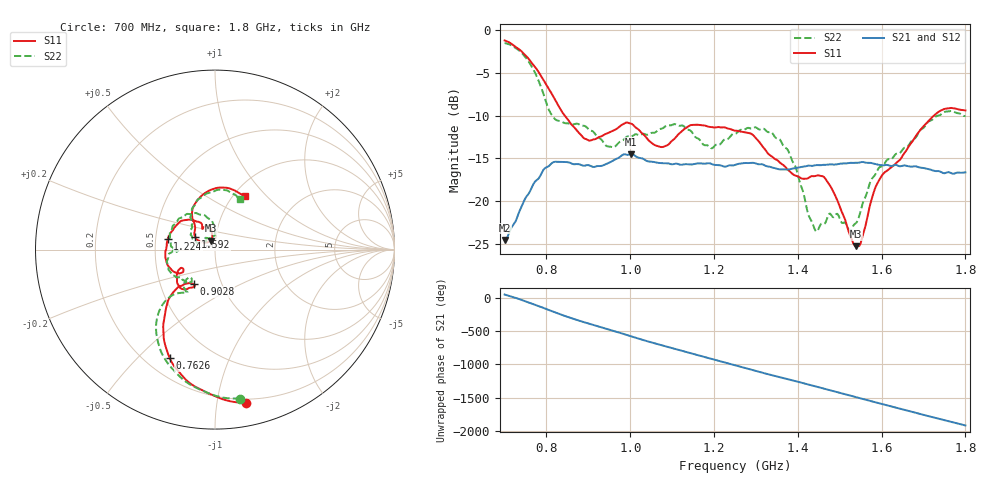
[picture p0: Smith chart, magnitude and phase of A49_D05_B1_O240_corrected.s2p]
! Created with skrf 1.9.0 (http://scikit-rf.org).
# Hz S RI R 50.0
!freq ReS11 ImS11 ReS21 ImS21 ReS12 ImS12 ReS22 ImS22
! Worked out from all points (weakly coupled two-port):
!   1601 points, 700 MHz to 1.8 GHz, reference 50 ohm
!   highest |S21| = -14.50 dB at 1.002 GHz (marker M1); lowest = -24.6 dB at 700.7 MHz (marker M2)
!   lowest |S11| = -25.3 dB at 1.538 GHz (marker M3), VSWR 1.12, Z = 47.5 + j4.7 ohm
!   |S11| at or under -10 dB: 843.6 MHz to 1.725 GHz (881.2 MHz wide, 68.6 % of centre)
!   |S22| runs from -23.6 to -1.5 dB; largest |S21 - S12| = 0.0034
!   S11 on the Smith chart (normalised r, x): 700 MHz: 0.17, -1.21; 762.6 MHz: 0.30, -0.62; 902.8 MHz: 0.74, -0.30; 1.224 GHz: 0.58, +0.08; 1.592 GHz: 0.79, +0.11; 1.8 GHz: 1.13, +0.75
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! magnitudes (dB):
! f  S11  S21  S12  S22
! 700 MHz  -1.2  -24.6  -24.3  -1.5
! 700.7 MHz  -1.2  -24.6  -24.3  -1.5
! 762.6 MHz  -3.7  -18.7  -18.6  -4.1
! 816.9 MHz  -7.8  -15.4  -15.5  -10.2
! 883.6 MHz  -12.3  -15.8  -15.7  -11.2
! 902.8 MHz  -12.9  -15.8  -15.8  -11.7
! 954.4 MHz  -11.9  -15.4  -15.4  -13.7
! 1.002 GHz  -10.9  -14.5  -14.6  -12.4
! 1.067 GHz  -13.6  -15.5  -15.5  -11.7
! 1.145 GHz  -11.1  -15.7  -15.7  -11.8
! 1.193 GHz  -11.3  -15.6  -15.6  -13.8
! 1.224 GHz  -11.4  -16.0  -16.0  -12.8
! 1.25 GHz  -11.8  -15.8  -15.7  -12.1
! 1.357 GHz  -15.5  -16.3  -16.2  -12.8
! 1.394 GHz  -17.0  -16.1  -16.1  -16.0
! 1.434 GHz  -17.1  -15.9  -15.8  -22.5
! 1.476 GHz  -18.1  -15.7  -15.7  -21.5
! 1.538 GHz  -25.3  -15.5  -15.5  -22.6
! 1.592 GHz  -17.7  -15.7  -15.7  -16.2
! 1.617 GHz  -16.3  -15.8  -15.8  -15.1
! 1.731 GHz  -9.7  -16.5  -16.5  -10.0
! 1.8 GHz  -9.4  -16.6  -16.6  -10.0
